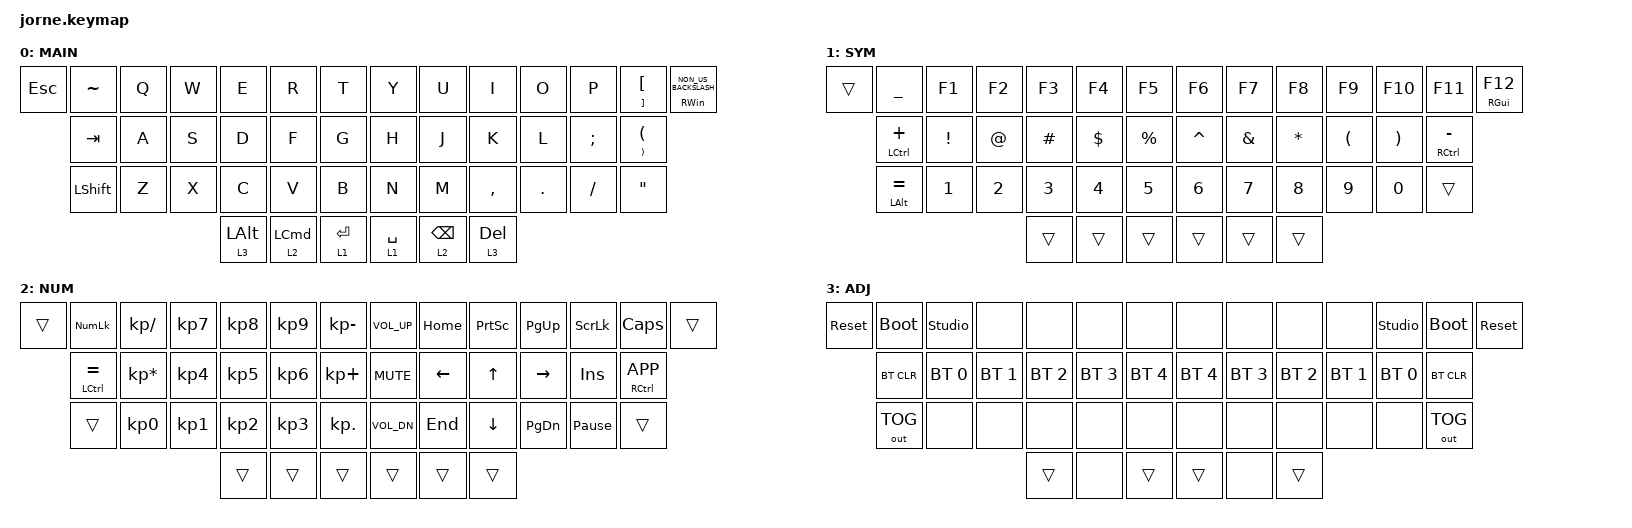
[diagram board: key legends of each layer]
/*
 * Copyright (c) 2020 The ZMK Contributors
 *
 * SPDX-License-Identifier: MIT
 */

#include <behaviors.dtsi>
#include <dt-bindings/zmk/bt.h>
#include <dt-bindings/zmk/keys.h>
#include <dt-bindings/zmk/outputs.h>

#define DEF 0
#define LWR 1
#define RSE 2
#define ADJ 3

&lt { quick-tap-ms = <200>; };

&mt { quick-tap-ms = <200>; };

/ {
    conditional_layers {
        compatible = "zmk,conditional-layers";

        tri_layer {
            if-layers = <1 2>;
            then-layer = <3>;
        };
    };

    keymap {
        compatible = "zmk,keymap";

        default_layer {
            display-name = "MAIN";

            // -----------------------------------------------------------------------------------------
            // |  GUI |   ~  |  Q  |  W  |  E  |  R  |  T  |   |  Y  |  U   |  I  |  O  |  P  |  [   | GUI/] |
            //        | CTRL |  A  |  S  |  D  |  F  |  G  |   |  H  |  J   |  K  |  L  |  ;  |CTRL/'|
            //        | LALT |  Z  |  X  |  C  |  V  |  B  |   |  N  |  M   |  ,  |  .  |  /  |RALT/\|
            //                           | RSE | SPC | LWR |   | LWR | BSPC | RSE |

            bindings = <
&kp ESCAPE  &kp TILDE       &kp Q  &kp W  &kp E           &kp R               &kp T        &kp Y        &kp U       &kp I      &kp O    &kp P     &mt RIGHT_BRACKET LEFT_BRACKET          &mt RWIN NON_US_BACKSLASH
            &kp TAB         &kp A  &kp S  &kp D           &kp F               &kp G        &kp H        &kp J       &kp K      &kp L    &kp SEMI  &mt RIGHT_PARENTHESIS LEFT_PARENTHESIS
            &kp LEFT_SHIFT  &kp Z  &kp X  &kp C           &kp V               &kp B        &kp N        &kp M       &kp COMMA  &kp DOT  &kp FSLH  &kp DOUBLE_QUOTES
                                          &lt 3 LEFT_ALT  &lt 2 LEFT_COMMAND  &lt 1 ENTER  &lt 1 SPACE  &lt 2 BSPC  &lt 3 DEL
            >;
        };

        lower_layer {
            display-name = "SYM";

            // -----------------------------------------------------------------------------------------
            // |     |  _  |  F1 |  F2 |  F3 |  F4 |  F5 |   |  F6 |  F7 |  F8 |  F9 | F10 | F11 | F12 |
            //       |  +  |  !  |  @  |  #  |  $  |  %  |   |  ^  |  &  |  *  |  (  |  )  |  -  |
            //       |  =  |  1  |  2  |  3  |  4  |  5  |   |  6  |  7  |  8  |  9  |  0  |     |
            //                         | ADJ |     |     |   |     |     | ADJ |

            bindings = <
&trans  &kp UNDER       &kp F1    &kp F2  &kp F3    &kp F4    &kp F5     &kp F6     &kp F7    &kp F8    &kp F9    &kp F10   &kp F11          &mt RGUI F12
        &mt LCTRL PLUS  &kp EXCL  &kp AT  &kp HASH  &kp DLLR  &kp PRCNT  &kp CARET  &kp AMPS  &kp STAR  &kp LPAR  &kp RPAR  &mt RCTRL MINUS
        &mt LALT EQUAL  &kp N1    &kp N2  &kp N3    &kp N4    &kp N5     &kp N6     &kp N7    &kp N8    &kp N9    &kp N0    &trans
                                          &trans    &trans    &trans     &trans     &trans    &trans
            >;
        };

        raise_layer {
            display-name = "NUM";

            // -----------------------------------------------------------------------------------------
            // |     | NMLK |  /  |  7  |  8  |  9  |  -  |   | VOLU| HOME| PRSC| PGUP| SCLK| CLCK|     |
            //       |CTRL/=|  *  |  4  |  5  |  6  |  +  |   | MUT | LEFT|  UP | RGHT| INS | APP |
            //       |      |  0  |  1  |  2  |  3  |  .  |   | VOLD| END | DOWN| PGDN| PAUS|     |
            //                          |     |     | ADJ |   | ADJ |     |     |

            bindings = <
&trans  &kp KP_NUM       &kp KP_SLASH     &kp KP_N7  &kp KP_N8  &kp KP_N9  &kp KP_MINUS  &kp C_VOL_UP  &kp HOME  &kp PSCRN  &kp PG_UP  &kp SLCK         &kp CAPS         &trans
        &mt LCTRL EQUAL  &kp KP_MULTIPLY  &kp KP_N4  &kp KP_N5  &kp KP_N6  &kp KP_PLUS   &kp C_MUTE    &kp LEFT  &kp UP     &kp RIGHT  &kp INS          &mt RCTRL K_APP
        &trans           &kp KP_N0        &kp KP_N1  &kp KP_N2  &kp KP_N3  &kp KP_DOT    &kp C_VOL_DN  &kp END   &kp DOWN   &kp PG_DN  &kp PAUSE_BREAK  &trans
                                                     &trans     &trans     &trans        &trans        &trans    &trans
            >;
        };

        adjust_layer {
            display-name = "ADJ";

            // -----------------------------------------------------------------------------------------
            // | RST | BLDR | STU |     |     |     |     |   |     |     |     |     | STU | BLDR | RST |
            //       | BTCLR| BT0 | BT1 | BT2 | BT3 | BT4 |   | BT4 | BT3 | BT2 | BT1 | BT0 | BTCLR|
            //       | OUT  |     |     |     |     |     |   |     |     |     |     |     | OUT  |
            //                          |     |     |     |   |     |     |     |

            bindings = <
&sys_reset  &bootloader   &studio_unlock  &none         &none         &none         &none         &none         &none         &none         &none         &studio_unlock  &bootloader   &sys_reset
            &bt BT_CLR    &bt BT_SEL 0    &bt BT_SEL 1  &bt BT_SEL 2  &bt BT_SEL 3  &bt BT_SEL 4  &bt BT_SEL 4  &bt BT_SEL 3  &bt BT_SEL 2  &bt BT_SEL 1  &bt BT_SEL 0    &bt BT_CLR
            &out OUT_TOG  &none           &none         &none         &none         &none         &none         &none         &none         &none         &none           &out OUT_TOG
                                                        &trans        &none         &trans        &trans        &none         &trans
            >;
        };
    };
};
